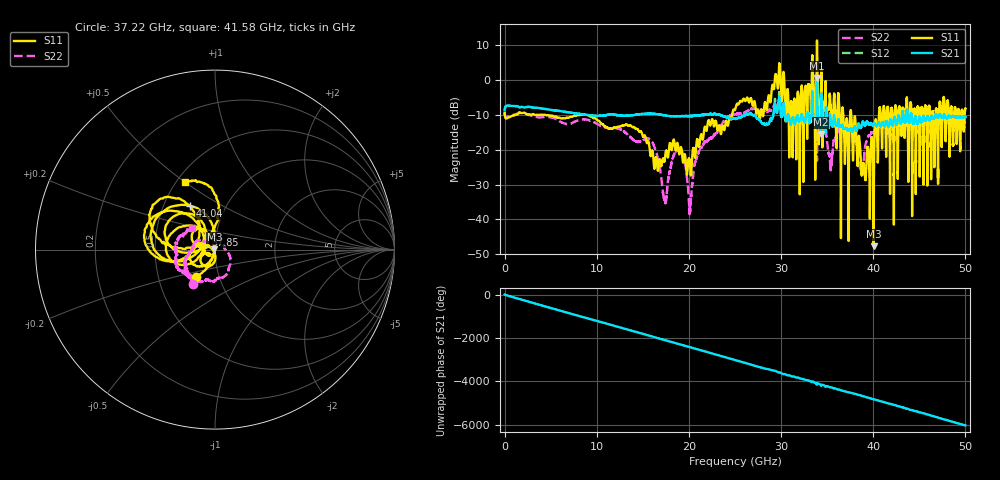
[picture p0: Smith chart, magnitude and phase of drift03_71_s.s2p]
!Created with skrf (http://scikit-rf.org).
# Hz S RI R 50.0
!freq ReS11 ImS11 ReS21 ImS21 ReS12 ImS12 ReS22 ImS22
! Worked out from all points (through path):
!   10001 points, 300 kHz to 50 GHz, reference 50 ohm
!   highest |S21| = 0.68 dB at 33.9 GHz (marker M1); lowest = -15.5 dB at 34.32 GHz (marker M2)
!   group delay of S21, straight-line fit = 335 ps
!   lowest |S11| = -47.7 dB at 40.05 GHz (marker M3), VSWR 1.01, Z = 49.6 + j0.188 ohm
!   |S11| at or under -10 dB: 4.471 GHz to 7.969 GHz (3.498 GHz wide, 56.2 % of centre); 9.013 GHz to 24.7 GHz (15.68 GHz wide, 93.1 % of centre); 37.62 GHz to 40.62 GHz (2.997 GHz wide, 7.66 % of centre) (the widest 3 of 62)
!   |S22| runs from -38.6 to -5.8 dB; largest |S21 - S12| = 0.11
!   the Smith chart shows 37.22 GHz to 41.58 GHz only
!   S11 on the Smith chart (normalised r, x): 37.22 GHz: 0.77, -0.24; 37.85 GHz: 0.89, +0.15; 41.04 GHz: 0.68, +0.36; 41.58 GHz: 0.55, +0.50
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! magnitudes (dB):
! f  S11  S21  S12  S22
! 300 kHz  -9.3  -8.5  -8.5  -9.3
! 8.335 GHz  -9.9  -9.8  -9.8  -11.3
! 16.67 GHz  -25.5  -9.8  -9.8  -23.1
! 17.4 GHz  -22.3  -10.1  -10.1  -35.1
! 19.09 GHz  -19.5  -10.3  -10.3  -20.2
! 20.13 GHz  -24.8  -10.3  -10.3  -37.0
! 21.18 GHz  -17.9  -10.1  -10.1  -19.9
! 25 GHz  -8.5  -11.1  -11.1  -9.9
! 29.66 GHz  -2.3  -8.3  -8.4  -7.1
! 31.08 GHz  -6.1  -12.7  -12.7  -10.5
! 33.34 GHz  0.4  -7.4  -7.5  -9.3
! 33.9 GHz  11.4  0.7  0.2  -23.1
! 34.32 GHz  -2.9  -15.5  -14.9  -11.2
! 35.35 GHz  -6.6  -10.5  -10.0  -24.9
! 37.22 GHz  -14.6  -14.3  -14.4  -12.9
! 37.85 GHz  -20.2  -14.3  -14.3  -14.8
! 38.72 GHz  -25.9  -13.3  -13.2  -25.5
! 40.05 GHz  -47.7  -12.7  -12.8  -15.2
! 41.04 GHz  -11.1  -12.0  -12.1  -13.3
! 41.58 GHz  -7.7  -12.7  -12.6  -15.2
! 41.67 GHz  -9.4  -13.3  -13.2  -14.9
! 50 GHz  -8.1  -10.6  -10.6  -12.2
